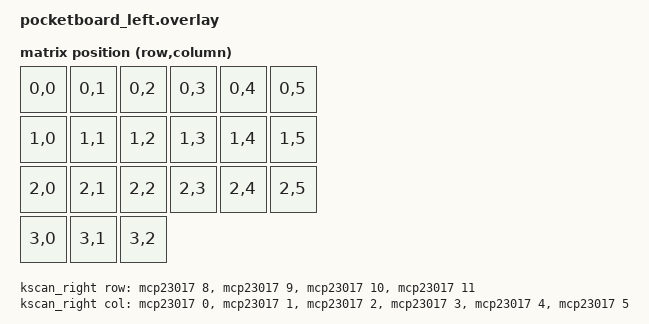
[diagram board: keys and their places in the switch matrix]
#include <dt-bindings/zmk/matrix_transform.h>

/*
 * TEST AISLADO DEL LADO DERECHO
 * nRF52840 -> I2C -> MCP23017 -> matriz derecha
 *
 * SDA = P0.06 / serigrafia 006
 * SCL = P0.08 / serigrafia 008
 *
 * MCP23017:
 * A0/A1/A2 de direccion -> GND => I2C 0x20
 *
 * Matriz:
 * C1..C6 -> GPA0..GPA5
 * R1..R4 -> GPB0..GPB3
 */

&pinctrl {
    pocket_i2c_default: pocket_i2c_default {
        group1 {
            psels =
                <NRF_PSEL(TWIM_SDA, 0, 6)>,
                <NRF_PSEL(TWIM_SCL, 0, 8)>;
        };
    };

    pocket_i2c_sleep: pocket_i2c_sleep {
        group1 {
            psels =
                <NRF_PSEL(TWIM_SDA, 0, 6)>,
                <NRF_PSEL(TWIM_SCL, 0, 8)>;
            low-power-enable;
        };
    };
};

&pro_micro_i2c {
    compatible = "nordic,nrf-twim";
    status = "okay";

    pinctrl-0 = <&pocket_i2c_default>;
    pinctrl-1 = <&pocket_i2c_sleep>;
    pinctrl-names = "default", "sleep";
    clock-frequency = <100000>;

    mcp23017: gpio@20 {
        compatible = "microchip,mcp23017";
        reg = <0x20>;
        gpio-controller;
        #gpio-cells = <2>;
        status = "okay";
    };
};

/ {
    chosen {
        zmk,kscan = &kscan_right;
        zmk,matrix-transform = &right_transform;
    };

    kscan_right: kscan_right {
        compatible = "zmk,kscan-gpio-matrix";
        diode-direction = "col2row";

        /*
         * Columnas: GPA0..GPA5
         */
        col-gpios =
            <&mcp23017 0 GPIO_ACTIVE_HIGH>,
            <&mcp23017 1 GPIO_ACTIVE_HIGH>,
            <&mcp23017 2 GPIO_ACTIVE_HIGH>,
            <&mcp23017 3 GPIO_ACTIVE_HIGH>,
            <&mcp23017 4 GPIO_ACTIVE_HIGH>,
            <&mcp23017 5 GPIO_ACTIVE_HIGH>;

        /*
         * Filas: GPB0..GPB3
         * Tus resistencias externas de 10k van de B0..B3 a GND.
         */
        row-gpios =
            <&mcp23017 8 GPIO_ACTIVE_HIGH>,
            <&mcp23017 9 GPIO_ACTIVE_HIGH>,
            <&mcp23017 10 GPIO_ACTIVE_HIGH>,
            <&mcp23017 11 GPIO_ACTIVE_HIGH>;
    };

    right_transform: right_transform {
        compatible = "zmk,matrix-transform";
        rows = <4>;
        columns = <6>;

        /*
         * 18 teclas principales + 3 inferiores.
         * Si físicamente el derecho está espejado, después
         * invertimos solo este mapa.
         */
        map = <
            RC(0,0) RC(0,1) RC(0,2) RC(0,3) RC(0,4) RC(0,5)
            RC(1,0) RC(1,1) RC(1,2) RC(1,3) RC(1,4) RC(1,5)
            RC(2,0) RC(2,1) RC(2,2) RC(2,3) RC(2,4) RC(2,5)
            RC(3,0) RC(3,1) RC(3,2)
        >;
    };
};
